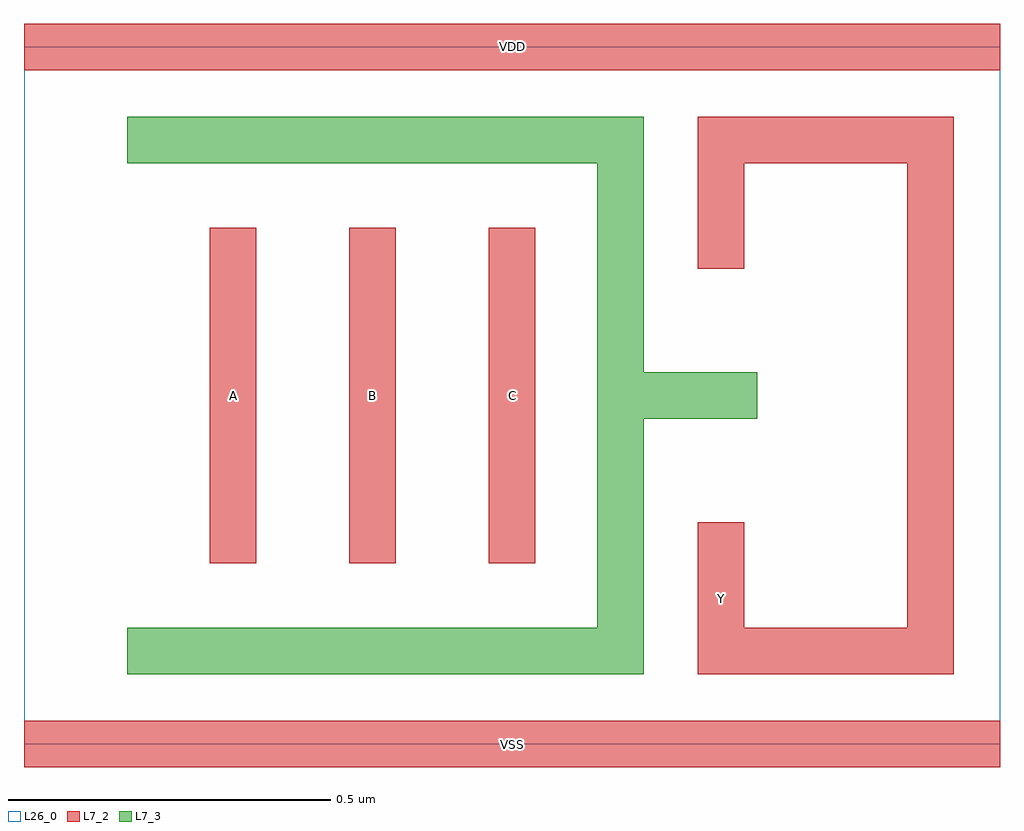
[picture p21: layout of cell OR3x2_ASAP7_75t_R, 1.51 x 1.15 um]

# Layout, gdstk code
import gdstk
lib = gdstk.Library(unit=1e-6, precision=1e-09)
def R(c, l, rs):  # rectangles x0, y0, x1, y1
    for r in rs: c.add(gdstk.rectangle(r[:2], r[2:], *l))
def A(c, l, x, y, w, h, nx, ny, dx, dy):  # array of equal rectangles
    R(c, l, [(x+i*dx, y+j*dy, x+i*dx+w, y+j*dy+h) for i in range(nx) for j in range(ny)])
L7_2 = (7, 2)
L7_3 = (7, 3)
L26_0 = (26, 0)

or3x2_asap7_75t_r = lib.new_cell('OR3x2_ASAP7_75t_R')
A(or3x2_asap7_75t_r, L7_2, 0.288, 0.28, 0.072, 0.52, 3, 1, 0.216, 0)
R(or3x2_asap7_75t_r, L7_2, [(0,-0.036,1.512,0.036), (1.044,0.108,1.44,0.18), (1.044,0.108,1.116,0.344), (1.368,0.108,1.44,0.972), (1.044,0.736,1.116,0.972), (1.044,0.9,1.44,0.972), (0,1.044,1.512,1.116)])
R(or3x2_asap7_75t_r, L7_3, [(0.16,0.108,0.96,0.18), (0.888,0.108,0.96,0.972), (0.888,0.504,1.136,0.576), (0.16,0.9,0.96,0.972)])
R(or3x2_asap7_75t_r, L26_0, [(0,0,1.512,1.08)])
or3x2_asap7_75t_r.add(gdstk.Label('A', (0.324,0.54), layer=7, texttype=1))
or3x2_asap7_75t_r.add(gdstk.Label('B', (0.54,0.54), layer=7, texttype=1))
or3x2_asap7_75t_r.add(gdstk.Label('C', (0.756,0.54), layer=7, texttype=1))
or3x2_asap7_75t_r.add(gdstk.Label('VDD', (0.756,1.08), layer=7, texttype=1))
or3x2_asap7_75t_r.add(gdstk.Label('VSS', (0.756,0), layer=7, texttype=1))
or3x2_asap7_75t_r.add(gdstk.Label('Y', (1.08,0.226), layer=7, texttype=1))

lib.write_gds('OR3x2_ASAP7_75t_R.gds')
